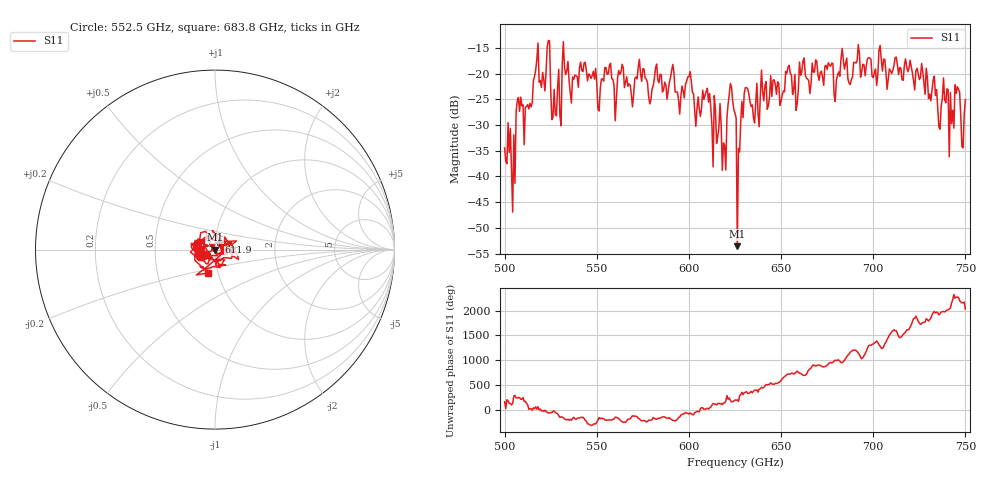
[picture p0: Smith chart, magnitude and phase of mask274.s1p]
!Created with skrf (http://scikit-rf.org).
# GHz S MA R 50.0
!freq magS11 angS11
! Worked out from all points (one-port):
!   401 points, 500 GHz to 750 GHz, reference 50 ohm
!   lowest |S11| = -53.6 dB at 626.2 GHz (marker M1), VSWR 1.00, Z = 49.8 - j0.0938 ohm
!   |S11| at or under -10 dB: start of sweep to end of sweep
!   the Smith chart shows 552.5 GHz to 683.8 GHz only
!   S11 on the Smith chart (normalised r, x): 552.5 GHz: 0.85, -0.06; 611.9 GHz: 1.04, +0.08; 683.8 GHz: 0.89, -0.24
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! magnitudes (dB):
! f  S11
! 500 GHz  -34.5
! 504.4 GHz  -46.9
! 507.5 GHz  -24.7
! 511.9 GHz  -26.4
! 516.9 GHz  -19.3
! 523.8 GHz  -13.6
! 526.9 GHz  -23.1
! 531.2 GHz  -18.4
! 552.5 GHz  -21.1
! 562.5 GHz  -20.2
! 593.8 GHz  -23.6
! 600 GHz  -20.7
! 611.9 GHz  -26.8
! 619.4 GHz  -34.0
! 622.5 GHz  -21.9
! 625 GHz  -27.7
! 626.2 GHz  -53.6
! 631.2 GHz  -22.8
! 635 GHz  -28.5
! 656.2 GHz  -24.1
! 683.8 GHz  -17.3
! 687.5 GHz  -22.1
! 718.8 GHz  -19.7
! 736.2 GHz  -30.8
! 739.4 GHz  -25.7
! 742.5 GHz  -29.7
! 745.6 GHz  -22.6
! 750 GHz  -25.1
